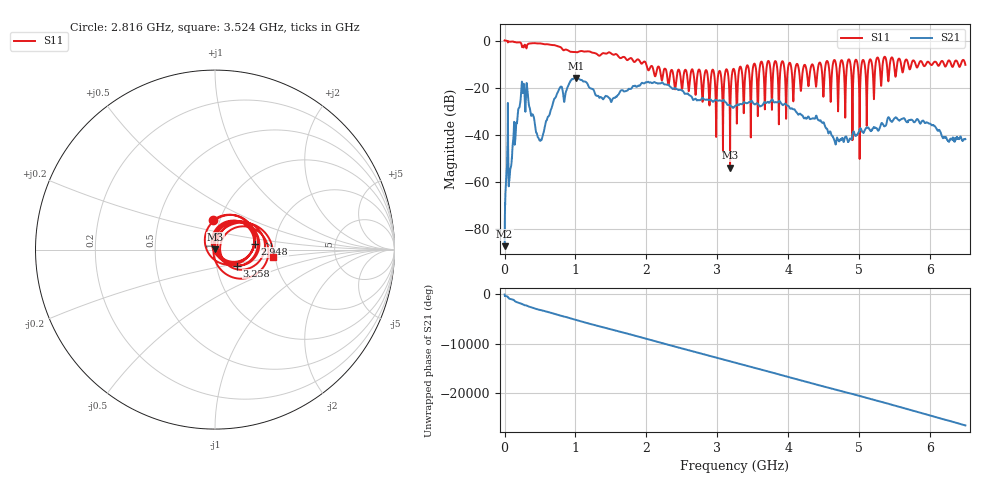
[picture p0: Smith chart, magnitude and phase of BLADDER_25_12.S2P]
!Keysight Technologies,E5063A,MY54503115,A.05.08
!Date: Sun Feb 04 18:35:03 2024
!Data & Calibration Information:
!Freq	S11:NONE(--)	S21:NONE(--)	S12:NONE(--)	S22:NONE(--)
# Hz S dB R 50
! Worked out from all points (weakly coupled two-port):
!   10001 points, 100 kHz to 6.5 GHz, reference 50 ohm
!   highest |S21| = -15.88 dB at 1.004 GHz (marker M1); lowest = -87.4 dB at 100 kHz (marker M2)
!   lowest |S11| = -54.1 dB at 3.181 GHz (marker M3), VSWR 1.00, Z = 50.1 + j0.169 ohm
!   |S11| at or under -10 dB: 1.997 GHz to 3.517 GHz (1.52 GHz wide, 55.1 % of centre); 4.033 GHz to 4.12 GHz (86.11 MHz wide, 2.11 % of centre); 4.13 GHz to 4.432 GHz (301.1 MHz wide, 7.03 % of centre) (the widest 3 of 29)
!   S12 and S22 are empty: the file has one direction only
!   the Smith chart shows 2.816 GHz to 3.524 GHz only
!   S11 on the Smith chart (normalised r, x): 2.816 GHz: 0.93, +0.31; 2.948 GHz: 1.57, +0.10; 3.258 GHz: 1.26, -0.23; 3.524 GHz: 1.94, -0.18
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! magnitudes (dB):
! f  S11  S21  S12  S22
! 100 kHz  0.0  -87.4  -  -
! 38.45 MHz  -0.2  -46.6  -  -
! 85.9 MHz  -0.5  -54.2  -  -
! 249.7 MHz  -2.7  -19.5  -  -
! 503.2 MHz  -1.2  -42.5  -  -
! 767.7 MHz  -2.6  -20.8  -  -
! 1.004 GHz  -4.9  -15.9  -  -
! 1.084 GHz  -4.4  -16.7  -  -
! 1.504 GHz  -5.5  -26.1  -  -
! 2.167 GHz  -11.0  -18.3  -  -
! 2.816 GHz  -15.7  -25.1  -  -
! 2.948 GHz  -13.0  -25.9  -  -
! 3.08 GHz  -47.5  -25.3  -  -
! 3.132 GHz  -12.2  -26.6  -  -
! 3.181 GHz  -54.1  -27.6  -  -
! 3.25 GHz  -14.0  -27.8  -  -
! 3.258 GHz  -16.4  -27.7  -  -
! 3.524 GHz  -9.8  -27.1  -  -
! 4.334 GHz  -10.2  -33.2  -  -
! 4.688 GHz  -14.4  -41.4  -  -
! 5.417 GHz  -16.6  -32.6  -  -
! 6.5 GHz  -10.3  -41.9  -  -
